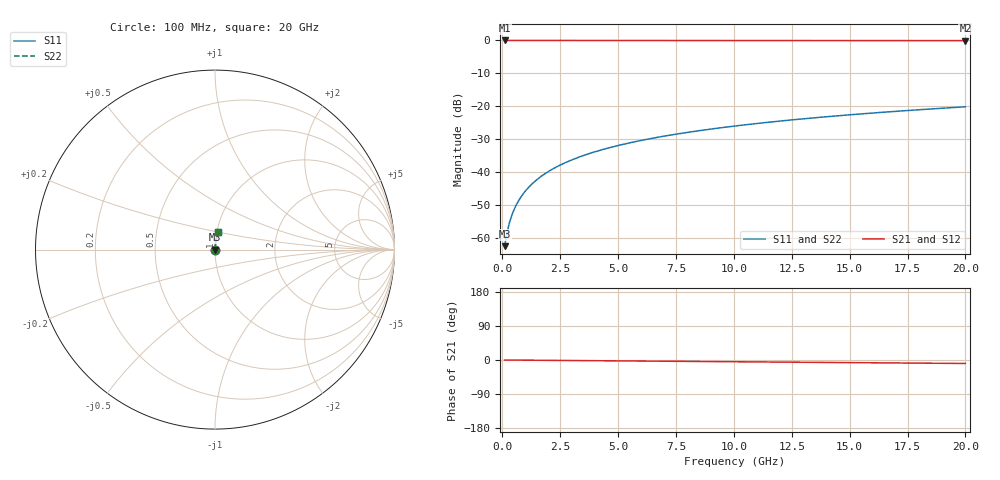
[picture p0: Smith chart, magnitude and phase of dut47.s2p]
! Touchstone file exported from HFSS 2026.1.0
!  File:  C:/ffzhzh/LocalFiles/Ansys_Project_Files/temp_train_TSV_47_1782958700_6388.aedt
!  Generated:  10:20:17 AM Jul  2, 2026
!  Design:  TSV
!  Project:  temp_train_TSV_47_1782958700_6388
! Variables:
!  h_bsmrdl = 2um
!  h_ox = 20um
!  h_rdl = 5um
!  h_sub = 66.35um
!  h_tmrdl = 5um
!  h_tsv = 66.35um
!  h_via = 3um
!  l_bsmrdl = 300um
!  l_sub = 407.74um
!  l_tmrdl = 200um
!  m_sub = 200um
!  pitch = 49.1um
!  r_tsv = 3.87um
!  s_tmrdl = 10um
!  w_bsmrdl = 18um
!  w_sub = 500um
!  w_tmrdl = 12um
!  x_tsv_center1 = 206um
!  x_tsv_center2 = 524um
!  x_tsv_center3 = 736um
!  x_tsv_center4 = 1054um
!  x_tsv_center5 = 1266um
!  x_tsv_center6 = 1584um
# GHz S MA R 50.000000
! Terminal data exported
! Port[1] = TSV1_1_T1
! Port[2] = TSV1_1_T2
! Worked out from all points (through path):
!   200 points, 100 MHz to 20 GHz, reference 50 ohm
!   highest |S21| = 0.00 dB at 100 MHz (marker M1); lowest = -0.1 dB at 20 GHz (marker M2)
!   group delay of S21, straight-line fit = 1.27 ps
!   lowest |S11| = -62.5 dB at 100 MHz (marker M3), VSWR 1.00, Z = 50.1 + j0.0527 ohm
!   |S11| at or under -10 dB: start of sweep to end of sweep
!   |S22| runs from -62.5 to -20.1 dB; largest |S21 - S12| = 2.2e-15
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0.1  0.0007533 44.4  0.9995 -0.0  0.9995 -0.0  0.0007533 44.4
! Gamma 0 0 0 0
! Port Impedance 50 0 50 0
0.2  0.001184 62.4  0.9995 -0.1  0.9995 -0.1  0.001184 62.4
0.3  0.001665 70.3  0.9994 -0.1  0.9994 -0.1  0.001665 70.3
0.4  0.002159 74.6  0.9994 -0.2  0.9994 -0.2  0.002159 74.6
0.5  0.00266 77.3  0.9994 -0.2  0.9994 -0.2  0.00266 77.3
0.6  0.003163 79.1  0.9994 -0.3  0.9994 -0.3  0.003163 79.1
0.8  0.004175 81.4  0.9994 -0.4  0.9994 -0.4  0.004175 81.4
1.1  0.0057 83.3  0.9994 -0.5  0.9994 -0.5  0.0057 83.3
1.5  0.007738 84.5  0.9993 -0.7  0.9993 -0.7  0.007738 84.5
1.8  0.009267 85.0  0.9993 -0.8  0.9993 -0.8  0.009267 85.0
2.1  0.01079 85.3  0.9992 -1.0  0.9992 -1.0  0.01079 85.3
2.7  0.01384 85.6  0.9991 -1.3  0.9991 -1.3  0.01384 85.6
3.5  0.01788 85.6  0.999 -1.6  0.999 -1.6  0.01788 85.6
4.2  0.0214 85.5  0.9988 -2.0  0.9988 -2.0  0.0214 85.5
5  0.02539 85.3  0.9986 -2.3  0.9986 -2.3  0.02539 85.3
5.9  0.02986 85.0  0.9984 -2.7  0.9984 -2.7  0.02986 85.0
6.8  0.03431 84.7  0.9981 -3.2  0.9981 -3.2  0.03431 84.7
8.3  0.04169 84.2  0.9977 -3.8  0.9977 -3.8  0.04169 84.2
10.1  0.0505 83.5  0.9971 -4.7  0.9971 -4.7  0.0505 83.5
13.4  0.06656 82.2  0.9959 -6.2  0.9959 -6.2  0.06656 82.2
16.7  0.08251 80.9  0.9945 -7.7  0.9945 -7.7  0.08251 80.9
20  0.09833 79.5  0.9929 -9.2  0.9929 -9.2  0.09833 79.5
